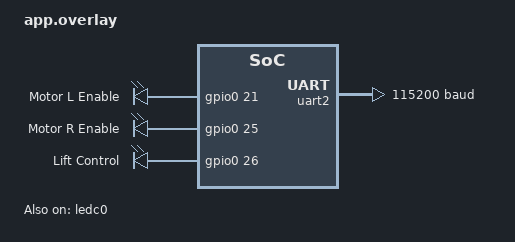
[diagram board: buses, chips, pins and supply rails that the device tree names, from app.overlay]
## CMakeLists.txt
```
cmake_minimum_required(VERSION 3.20.0)
find_package(Zephyr REQUIRED HINTS $ENV{ZEPHYR_BASE})
project(porter_motor_controller LANGUAGES C CXX)

set(CMAKE_CXX_STANDARD 17)
set(CMAKE_CXX_STANDARD_REQUIRED ON)

target_sources(app PRIVATE
    src/main.cpp
)

# Add common shared code (protocol, CRC, transport)
target_sources(app PRIVATE
    ${CMAKE_CURRENT_SOURCE_DIR}/../common/src/protocol.cpp
    ${CMAKE_CURRENT_SOURCE_DIR}/../common/src/crc16.cpp
    ${CMAKE_CURRENT_SOURCE_DIR}/../common/src/transport.c
)

target_include_directories(app PRIVATE
    ${CMAKE_CURRENT_SOURCE_DIR}/../common/include
)
```

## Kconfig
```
# Porter Robot — Motor Controller Application Kconfig
#
# Sources the shared common library Kconfig (transport layer)
# then imports all Zephyr base symbols.

mainmenu "Porter Motor Controller"

rsource "../common/Kconfig"

source "Kconfig.zephyr"
```

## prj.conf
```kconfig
# Porter Robot — Motor Controller Configuration
# Board: ESP32-DevKitC (esp32_devkitc/esp32/procpu)

# --- C++ Support ---
CONFIG_CPP=y
CONFIG_STD_CPP17=y
CONFIG_REQUIRES_FULL_LIBCPP=y

# --- Transport (RPi communication) ---
# ESP32-WROOM uses hardware UART2 + external USB-UART bridge (CP2102/CH340).
# For ESP32-S2/S3 with native USB, change to CONFIG_PORTER_TRANSPORT_CDC_ACM=y
# and add: CONFIG_USB_DEVICE_STACK=y, CONFIG_USBD_CDC_ACM_CLASS=y, CONFIG_UART_LINE_CTRL=y
CONFIG_SERIAL=y
CONFIG_PORTER_TRANSPORT=y
CONFIG_PORTER_TRANSPORT_UART=y

# --- PWM for BTS7960 motor drivers ---
CONFIG_PWM=y

# --- GPIO for direction control and encoders ---
CONFIG_GPIO=y

# --- ADC for battery monitoring ---
CONFIG_ADC=y

# --- State Machine Framework ---
CONFIG_SMF=y
CONFIG_SMF_ANCESTOR_SUPPORT=y

# --- Zbus (internal message passing) ---
CONFIG_ZBUS=y
CONFIG_ZBUS_CHANNEL_NAME=y
CONFIG_ZBUS_OBSERVER_NAME=y

# --- Logging ---
CONFIG_LOG=y
CONFIG_LOG_DEFAULT_LEVEL=3
CONFIG_LOG_BACKEND_UART=y
CONFIG_CBPRINTF_FP_SUPPORT=y

# --- Shell (development only) ---
CONFIG_SHELL=y
CONFIG_SHELL_BACKEND_SERIAL=y

# --- Task Watchdog (safety) ---
CONFIG_TASK_WDT=y

# --- Thread monitoring ---
CONFIG_THREAD_NAME=y
CONFIG_THREAD_MONITOR=y

# --- System ---
CONFIG_HEAP_MEM_POOL_SIZE=4096
CONFIG_MAIN_STACK_SIZE=4096
```

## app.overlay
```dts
/* Porter Robot — Motor Controller Devicetree Overlay
 * Board: ESP32-DevKitC (WROOM)
 *
 * Transport: Hardware UART2 via external USB-UART bridge (CP2102/CH340)
 *   ESP32 UART2 TX (GPIO17) → CP2102 RX → USB → RPi /dev/ttyUSB*
 *   ESP32 UART2 RX (GPIO16) → CP2102 TX → USB → RPi /dev/ttyUSB*
 *
 * Console: UART0 (GPIO1 TX / GPIO3 RX) — debug output via built-in USB
 *
 * Motor Driver: 2× BTS7960 dual H-bridge
 *   Motor L: RPWM=GPIO18, LPWM=GPIO19, EN=GPIO21
 *   Motor R: RPWM=GPIO22, LPWM=GPIO23, EN=GPIO25
 *
 * Lift Mechanism: GPIO26 (up/down), GPIO27 (limit switch)
 *
 * For ESP32-S2/S3 with native USB CDC ACM, replace transport section with:
 *   &zephyr_udc0 { cdc_acm_uart0: cdc_acm_uart0 { compatible = "zephyr,cdc-acm-uart"; }; };
 *   / { aliases { protocol-uart = &cdc_acm_uart0; }; };
 *
 * NOTE: Pin assignments are provisional — update once PCB schematic is finalized
 */

/* Hardware UART2 for protocol communication with RPi */
&uart2 {
    status = "okay";
    current-speed = <115200>;
};

/* LEDC PWM for motor speed control (4 channels for 2 motors × 2 directions) */
&pinctrl {
    ledc0_default: ledc0_default {
        group1 {
            pinmux = <LEDC_CH0_GPIO18>,    /* Motor L RPWM (forward) */
                     <LEDC_CH1_GPIO19>,    /* Motor L LPWM (reverse) */
                     <LEDC_CH2_GPIO22>,    /* Motor R RPWM (forward) */
                     <LEDC_CH3_GPIO23>;    /* Motor R LPWM (reverse) */
            output-enable;
        };
    };
};

&ledc0 {
    status = "okay";
    pinctrl-0 = <&ledc0_default>;
    pinctrl-names = "default";
};

/ {
    chosen {
        /* zephyr,console stays on UART0 for debug output */
    };

    aliases {
        protocol-uart = &uart2;
        pwm-motors = &ledc0;
    };

    /* Motor enable pins and lift control GPIO */
    motor_gpios {
        compatible = "gpio-leds";

        motor_l_en: motor_l_en {
            gpios = <&gpio0 21 GPIO_ACTIVE_HIGH>;
            label = "Motor L Enable";
        };
        motor_r_en: motor_r_en {
            gpios = <&gpio0 25 GPIO_ACTIVE_HIGH>;
            label = "Motor R Enable";
        };
        lift_ctrl: lift_ctrl {
            gpios = <&gpio0 26 GPIO_ACTIVE_HIGH>;
            label = "Lift Control";
        };
    };
};
```

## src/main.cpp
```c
/*
 * Porter Robot — Motor Controller Firmware
 * ESP32 #1: Dual BTS7960 H-Bridge motor control via USB-UART bridge
 *
 * Copyright (c) 2026 VirtusCo
 * SPDX-License-Identifier: Apache-2.0
 *
 * Subsystems:
 *   - SMF state machine: IDLE → RUNNING → FAULT → ESTOP
 *   - PWM motor driver: BTS7960 dual H-bridge (RPWM/LPWM per motor)
 *   - Differential drive: (linear_x, angular_z) → left/right PWM
 *   - Speed ramping: acceleration/deceleration limits
 *   - Heartbeat watchdog: no command in 500ms → stop motors
 *   - Transport: protocol packets over UART/CDC ACM to RPi
 *   - Zbus channels: motor_cmd, motor_status, safety_event
 *   - Shell commands for development/debug
 *
 * Thread priorities: safety(-1) > motor(0) > protocol(1) > reporting(5) > shell(14)
 */

#include <zephyr/kernel.h>
#include <zephyr/device.h>
#include <zephyr/drivers/gpio.h>
#include <zephyr/drivers/pwm.h>
#include <zephyr/logging/log.h>
#include <zephyr/smf.h>
#include <zephyr/zbus/zbus.h>
#include <zephyr/shell/shell.h>
#include <zephyr/task_wdt/task_wdt.h>
#include <zephyr/sys/atomic.h>

#include <cstring>
#include <cstdlib>
#include <algorithm>

#include "protocol.h"
#include "transport.h"

LOG_MODULE_REGISTER(motor_ctrl, LOG_LEVEL_INF);

/* ========================================================================
 * Configuration Constants
 * ======================================================================== */

#define FIRMWARE_VERSION          "0.2.0"

/* PWM */
#define PWM_PERIOD_US             1000    /* 1 kHz PWM frequency */
#define PWM_MAX_DUTY              100     /* max duty cycle % */

/* Speed ramping */
#define RAMP_STEP_PER_TICK        5       /* max duty % change per 10ms tick */
#define MOTOR_TICK_MS             10      /* motor control loop period */

/* Safety */
#define HEARTBEAT_TIMEOUT_MS      500     /* stop motors if no heartbeat/cmd */
#define FAULT_RECOVERY_DELAY_MS   2000    /* delay before allowing fault clear */

/* Protocol polling */
#define PROTOCOL_POLL_MS          5       /* transport read interval */

/* Reporting */
#define STATUS_REPORT_MS          200     /* motor status report interval */

/* ========================================================================
 * Zbus Message Types
 * ======================================================================== */

struct motor_cmd_msg {
    int16_t speed_left;     /* -100..+100 (percent duty, signed for direction) */
    int16_t speed_right;    /* -100..+100 */
    uint8_t flags;          /* bit 0: smooth ramp enable */
};

struct motor_status_msg {
    int16_t current_left;   /* actual duty after ramping */
    int16_t current_right;
    uint8_t state;          /* SMF state enum value */
    uint8_t fault_code;     /* 0 = no fault */
};

struct safety_event_msg {
    uint8_t event;          /* 0=heartbeat_timeout, 1=overcurrent, 2=estop_cmd */
};

/* Forward‐declare observers */
ZBUS_CHAN_DEFINE(motor_cmd_chan,
    struct motor_cmd_msg, NULL, NULL,
    ZBUS_OBSERVERS_EMPTY,
    ZBUS_MSG_INIT(.speed_left = 0, .speed_right = 0, .flags = 1));

ZBUS_CHAN_DEFINE(motor_status_chan,
    struct motor_status_msg, NULL, NULL,
    ZBUS_OBSERVERS_EMPTY,
    ZBUS_MSG_INIT(.current_left = 0, .current_right = 0, .state = 0, .fault_code = 0));

ZBUS_CHAN_DEFINE(safety_event_chan,
    struct safety_event_msg, NULL, NULL,
    ZBUS_OBSERVERS_EMPTY,
    ZBUS_MSG_INIT(.event = 0));

/* ========================================================================
 * Hardware Handles
 * ======================================================================== */

/* PWM — 4 channels: L_RPWM(ch0), L_LPWM(ch1), R_RPWM(ch2), R_LPWM(ch3) */
static const struct device *pwm_dev = DEVICE_DT_GET(DT_NODELABEL(ledc0));

/* Motor enable GPIOs */
static const struct gpio_dt_spec motor_l_en =
    GPIO_DT_SPEC_GET(DT_NODELABEL(motor_l_en), gpios);
static const struct gpio_dt_spec motor_r_en =
    GPIO_DT_SPEC_GET(DT_NODELABEL(motor_r_en), gpios);

/* Lift control */
static const struct gpio_dt_spec lift_ctrl =
    GPIO_DT_SPEC_GET(DT_NODELABEL(lift_ctrl), gpios);

/* ========================================================================
 * Motor PWM Driver
 * ======================================================================== */

/*
 * BTS7960 control: per motor has RPWM (forward) and LPWM (reverse) pins.
 * To go forward:  RPWM = duty, LPWM = 0
 * To go reverse:  RPWM = 0,    LPWM = duty
 * To brake:       RPWM = 0,    LPWM = 0   (with EN high = dynamic braking)
 */

static void pwm_set_channel(uint32_t channel, uint32_t duty_percent)
{
    if (duty_percent > PWM_MAX_DUTY) {
        duty_percent = PWM_MAX_DUTY;
    }
    uint32_t pulse_us = (PWM_PERIOD_US * duty_percent) / 100;
    int ret = pwm_set(pwm_dev, channel, PWM_USEC(PWM_PERIOD_US), PWM_USEC(pulse_us), 0);
    if (ret != 0) {
        LOG_ERR("PWM ch%u set failed: %d", channel, ret);
    }
}

/**
 * Set motor speed: -100..+100. Positive = forward, negative = reverse.
 */
static void motor_set_pwm(int side, int16_t speed)
{
    /* side: 0 = left (ch0=RPWM, ch1=LPWM), 1 = right (ch2=RPWM, ch3=LPWM) */
    uint32_t rpwm_ch = (side == 0) ? 0 : 2;
    uint32_t lpwm_ch = (side == 0) ? 1 : 3;

    int16_t clamped = std::clamp(speed, (int16_t)-100, (int16_t)100);
    uint32_t duty = (uint32_t)std::abs(clamped);

    if (clamped > 0) {
        pwm_set_channel(rpwm_ch, duty);
        pwm_set_channel(lpwm_ch, 0);
    } else if (clamped < 0) {
        pwm_set_channel(rpwm_ch, 0);
        pwm_set_channel(lpwm_ch, duty);
    } else {
        pwm_set_channel(rpwm_ch, 0);
        pwm_set_channel(lpwm_ch, 0);
    }
}

static void motors_stop(void)
{
    motor_set_pwm(0, 0);
    motor_set_pwm(1, 0);
}

static void motors_enable(bool enable)
{
    gpio_pin_set_dt(&motor_l_en, enable ? 1 : 0);
    gpio_pin_set_dt(&motor_r_en, enable ? 1 : 0);
}

/* ========================================================================
 * Speed Ramping
 * ======================================================================== */

static int16_t target_left  = 0;
static int16_t target_right = 0;
static int16_t actual_left  = 0;
static int16_t actual_right = 0;
static bool    ramp_enabled = true;

static int16_t ramp_towards(int16_t current, int16_t target, int16_t step)
{
    int16_t diff = target - current;
    if (diff > step) {
        return current + step;
    } else if (diff < -step) {
        return current - step;
    }
    return target;
}

static void ramp_tick(void)
{
    int16_t step = ramp_enabled ? RAMP_STEP_PER_TICK : 100;
    actual_left  = ramp_towards(actual_left,  target_left,  step);
    actual_right = ramp_towards(actual_right, target_right, step);
    motor_set_pwm(0, actual_left);
    motor_set_pwm(1, actual_right);
}

/* ========================================================================
 * Heartbeat / Command Watchdog
 * ======================================================================== */

static int64_t last_cmd_time = 0;

static void heartbeat_refresh(void)
{
    last_cmd_time = k_uptime_get();
}

static bool heartbeat_expired(void)
{
    return (k_uptime_get() - last_cmd_time) > HEARTBEAT_TIMEOUT_MS;
}

/* ========================================================================
 * Lift Mechanism (simple GPIO up/down)
 * ======================================================================== */

static void lift_set(bool raise)
{
    gpio_pin_set_dt(&lift_ctrl, raise ? 1 : 0);
    LOG_INF("Lift: %s", raise ? "UP" : "DOWN");
}

/* ========================================================================
 * SMF State Machine
 * ======================================================================== */

extern const struct smf_state motor_states[];

enum motor_state_e {
    STATE_IDLE,
    STATE_RUNNING,
    STATE_FAULT,
    STATE_ESTOP,
    STATE_COUNT
};

struct motor_sm_obj {
    struct smf_ctx ctx;
    uint8_t fault_code;
    int64_t fault_entry_time;
};

static struct motor_sm_obj sm_obj;

/* --- IDLE --- */
static void idle_entry(void *o)
{
    LOG_INF("State: IDLE");
    motors_stop();
    motors_enable(false);
    target_left = target_right = 0;
    actual_left = actual_right = 0;
}

static void idle_run(void *o)
{
    struct motor_sm_obj *obj = static_cast<struct motor_sm_obj *>(o);

    /* Check for ESTOP */
    struct safety_event_msg evt;
    if (zbus_chan_read(&safety_event_chan, &evt, K_NO_WAIT) == 0 && evt.event == 2) {
        smf_set_state(SMF_CTX(obj), &motor_states[STATE_ESTOP]);
        return;
    }

    /* Transition to RUNNING if speed command received */
    if (target_left != 0 || target_right != 0) {
        smf_set_state(SMF_CTX(obj), &motor_states[STATE_RUNNING]);
    }
}

/* --- RUNNING --- */
static void running_entry(void *o)
{
    LOG_INF("State: RUNNING");
    motors_enable(true);
    heartbeat_refresh();
}

static void running_run(void *o)
{
    struct motor_sm_obj *obj = static_cast<struct motor_sm_obj *>(o);

    /* Check for ESTOP */
    struct safety_event_msg evt;
    if (zbus_chan_read(&safety_event_chan, &evt, K_NO_WAIT) == 0 && evt.event == 2) {
        smf_set_state(SMF_CTX(obj), &motor_states[STATE_ESTOP]);
        return;
    }

    /* Heartbeat timeout → fault */
    if (heartbeat_expired()) {
        LOG_WRN("Heartbeat timeout — stopping motors");
        obj->fault_code = 1;  /* heartbeat timeout */
        smf_set_state(SMF_CTX(obj), &motor_states[STATE_FAULT]);
        return;
    }

    /* Apply speed ramping */
    ramp_tick();

    /* If target is zero and we've ramped down, return to IDLE */
    if (target_left == 0 && target_right == 0 &&
        actual_left == 0 && actual_right == 0) {
        smf_set_state(SMF_CTX(obj), &motor_states[STATE_IDLE]);
    }
}

static void running_exit(void *o)
{
    motors_stop();
    motors_enable(false);
}

/* --- FAULT --- */
static void fault_entry(void *o)
{
    struct motor_sm_obj *obj = static_cast<struct motor_sm_obj *>(o);
    LOG_ERR("State: FAULT (code=%u)", obj->fault_code);
    motors_stop();
    motors_enable(false);
    target_left = target_right = 0;
    actual_left = actual_right = 0;
    obj->fault_entry_time = k_uptime_get();
}

static void fault_run(void *o)
{
    struct motor_sm_obj *obj = static_cast<struct motor_sm_obj *>(o);

    /* Check for ESTOP — overrides fault */
    struct safety_event_msg evt;
    if (zbus_chan_read(&safety_event_chan, &evt, K_NO_WAIT) == 0 && evt.event == 2) {
        smf_set_state(SMF_CTX(obj), &motor_states[STATE_ESTOP]);
        return;
    }

    /* Recovery: wait for delay then allow transition to IDLE on explicit reset */
    if ((k_uptime_get() - obj->fault_entry_time) > FAULT_RECOVERY_DELAY_MS) {
        /* Reset command comes via protocol (CMD_RESET handled in protocol thread) */
        if (obj->fault_code == 0) {
            LOG_INF("Fault cleared, returning to IDLE");
            smf_set_state(SMF_CTX(obj), &motor_states[STATE_IDLE]);
        }
    }
}

/* --- ESTOP --- */
static void estop_entry(void *o)
{
    LOG_WRN("State: EMERGENCY STOP");
    motors_stop();
    motors_enable(false);
    target_left = target_right = 0;
    actual_left = actual_right = 0;
}

static void estop_run(void *o)
{
    /*
     * Latched state — requires explicit CMD_RESET from host to exit.
     * Motors remain disabled. No automatic recovery.
     */
    (void)o;
}

/* State table */
const struct smf_state motor_states[] = {
    [STATE_IDLE]    = SMF_CREATE_STATE(idle_entry,    idle_run,    NULL,         NULL, NULL),
    [STATE_RUNNING] = SMF_CREATE_STATE(running_entry, running_run, running_exit, NULL, NULL),
    [STATE_FAULT]   = SMF_CREATE_STATE(fault_entry,   fault_run,   NULL,         NULL, NULL),
    [STATE_ESTOP]   = SMF_CREATE_STATE(estop_entry,   estop_run,   NULL,         NULL, NULL),
};

/* ========================================================================
 * Protocol Handler (runs in its own thread)
 * ======================================================================== */

static protocol_parser_t proto_parser;

static void handle_packet(const protocol_packet_t *pkt)
{
    uint8_t resp_buf[PROTOCOL_MAX_PACKET_SIZE];
    size_t  resp_len;

    heartbeat_refresh();

    switch (pkt->command) {
    case CMD_MOTOR_SET_SPEED: {
        if (pkt->length < 5) {
            protocol_encode_nack(pkt->command, NACK_BAD_PAYLOAD, resp_buf, &resp_len);
            transport_write(resp_buf, resp_len);
            return;
        }
        int16_t left  = (int16_t)((pkt->payload[0] << 8) | pkt->payload[1]);
        int16_t right = (int16_t)((pkt->payload[2] << 8) | pkt->payload[3]);
        uint8_t flags = pkt->payload[4];

        /* Clamp to valid range */
        left  = std::clamp(left,  (int16_t)-100, (int16_t)100);
        right = std::clamp(right, (int16_t)-100, (int16_t)100);

        target_left  = left;
        target_right = right;
        ramp_enabled = (flags & 0x01) != 0;

        LOG_INF("CMD: speed L=%d R=%d flags=0x%02x", left, right, flags);

        /* Publish to zbus */
        struct motor_cmd_msg cmd = {
            .speed_left = left, .speed_right = right, .flags = flags
        };
        zbus_chan_pub(&motor_cmd_chan, &cmd, K_NO_WAIT);

        protocol_encode_ack(pkt->command, resp_buf, &resp_len);
        transport_write(resp_buf, resp_len);
        break;
    }

    case CMD_MOTOR_STOP:
        LOG_WRN("CMD: EMERGENCY STOP");
        target_left = target_right = 0;
        actual_left = actual_right = 0;
        motors_stop();
        {
            struct safety_event_msg evt = { .event = 2 };
            zbus_chan_pub(&safety_event_chan, &evt, K_NO_WAIT);
        }
        protocol_encode_ack(pkt->command, resp_buf, &resp_len);
        transport_write(resp_buf, resp_len);
        break;

    case CMD_MOTOR_STATUS: {
        LOG_DBG("CMD: STATUS request");
        uint8_t payload[5];
        payload[0] = (uint8_t)((actual_left  >> 8) & 0xFF);
        payload[1] = (uint8_t)(actual_left & 0xFF);
        payload[2] = (uint8_t)((actual_right >> 8) & 0xFF);
        payload[3] = (uint8_t)(actual_right & 0xFF);
        /* Encode current state as index */
        payload[4] = 0;
        for (int i = 0; i < STATE_COUNT; i++) {
            if (sm_obj.ctx.current == &motor_states[i]) {
                payload[4] = (uint8_t)i;
                break;
            }
        }
        protocol_encode(CMD_MOTOR_STATUS, payload, 5, resp_buf, &resp_len);
        transport_write(resp_buf, resp_len);
        break;
    }

    case CMD_HEARTBEAT:
        /* Already refreshed at top of function */
        LOG_DBG("CMD: HEARTBEAT");
        protocol_encode_ack(pkt->command, resp_buf, &resp_len);
        transport_write(resp_buf, resp_len);
        break;

    case CMD_VERSION: {
        const char *ver = FIRMWARE_VERSION;
        uint8_t vlen = (uint8_t)strlen(ver);
        protocol_encode(CMD_VERSION, (const uint8_t *)ver, vlen, resp_buf, &resp_len);
        transport_write(resp_buf, resp_len);
        break;
    }

    case CMD_RESET:
        LOG_INF("CMD: RESET — clearing faults");
        sm_obj.fault_code = 0;
        /* Return to IDLE (SMF will pick it up in fault_run or estop_run) */
        smf_set_state(SMF_CTX(&sm_obj), &motor_states[STATE_IDLE]);
        protocol_encode_ack(pkt->command, resp_buf, &resp_len);
        transport_write(resp_buf, resp_len);
        break;

    default:
        LOG_WRN("Unknown command: 0x%02x", pkt->command);
        protocol_encode_nack(pkt->command, NACK_UNKNOWN_CMD, resp_buf, &resp_len);
        transport_write(resp_buf, resp_len);
        break;
    }
}

/* Protocol thread: reads transport, feeds parser, dispatches packets */
static void protocol_thread_fn(void *, void *, void *)
{
    LOG_INF("Protocol thread started");

    /* Initialize transport */
    transport_config_t tcfg = TRANSPORT_CONFIG_DEFAULT;
    int ret = transport_init(&tcfg);
    if (ret != TRANSPORT_OK) {
        LOG_ERR("Transport init failed: %d", ret);
        return;
    }
    LOG_INF("Transport ready (%s)", transport_backend_name());

    protocol_parser_init(&proto_parser);

    while (true) {
        uint8_t buf[64];
        int n = transport_read(buf, sizeof(buf));

        for (int i = 0; i < n; i++) {
            if (protocol_parser_feed(&proto_parser, buf[i])) {
                handle_packet(&proto_parser.packet);
                protocol_parser_reset(&proto_parser);
            }
        }

        k_msleep(PROTOCOL_POLL_MS);
    }
}

K_THREAD_STACK_DEFINE(protocol_stack, 2048);
static struct k_thread protocol_thread_data;

/* ========================================================================
 * Status Reporting Thread
 * ======================================================================== */

static void reporting_thread_fn(void *, void *, void *)
{
    LOG_INF("Reporting thread started");

    while (true) {
        /* Update zbus status channel */
        struct motor_status_msg status = {
            .current_left  = actual_left,
            .current_right = actual_right,
            .state         = 0,
            .fault_code    = sm_obj.fault_code,
        };

        for (int i = 0; i < STATE_COUNT; i++) {
            if (sm_obj.ctx.current == &motor_states[i]) {
                status.state = (uint8_t)i;
                break;
            }
        }

        zbus_chan_pub(&motor_status_chan, &status, K_NO_WAIT);

        k_msleep(STATUS_REPORT_MS);
    }
}

K_THREAD_STACK_DEFINE(reporting_stack, 1024);
static struct k_thread reporting_thread_data;

/* ========================================================================
 * Shell Commands (development/debug)
 * ======================================================================== */

static int cmd_motor_speed(const struct shell *sh, size_t argc, char **argv)
{
    if (argc != 3) {
        shell_error(sh, "Usage: motor speed <left> <right>");
        return -EINVAL;
    }
    int16_t left  = (int16_t)atoi(argv[1]);
    int16_t right = (int16_t)atoi(argv[2]);

    target_left = std::clamp(left, (int16_t)-100, (int16_t)100);
    target_right = std::clamp(right, (int16_t)-100, (int16_t)100);
    heartbeat_refresh();
    shell_print(sh, "Target: L=%d R=%d", target_left, target_right);
    return 0;
}

static int cmd_motor_stop(const struct shell *sh, size_t argc, char **argv)
{
    ARG_UNUSED(argc);
    ARG_UNUSED(argv);
    target_left = target_right = 0;
    actual_left = actual_right = 0;
    motors_stop();
    shell_print(sh, "Motors stopped");
    return 0;
}

static int cmd_motor_status(const struct shell *sh, size_t argc, char **argv)
{
    ARG_UNUSED(argc);
    ARG_UNUSED(argv);
    const char *state_names[] = {"IDLE", "RUNNING", "FAULT", "ESTOP"};
    uint8_t si = 0;
    for (int i = 0; i < STATE_COUNT; i++) {
        if (sm_obj.ctx.current == &motor_states[i]) { si = i; break; }
    }
    shell_print(sh, "State: %s  Fault: %u", state_names[si], sm_obj.fault_code);
    shell_print(sh, "Target:  L=%d R=%d", target_left, target_right);
    shell_print(sh, "Actual:  L=%d R=%d", actual_left, actual_right);
    shell_print(sh, "Ramp: %s  HB age: %lld ms",
                ramp_enabled ? "ON" : "OFF",
                k_uptime_get() - last_cmd_time);
    return 0;
}

static int cmd_motor_reset(const struct shell *sh, size_t argc, char **argv)
{
    ARG_UNUSED(argc);
    ARG_UNUSED(argv);
    sm_obj.fault_code = 0;
    smf_set_state(SMF_CTX(&sm_obj), &motor_states[STATE_IDLE]);
    shell_print(sh, "Faults cleared, state → IDLE");
    return 0;
}

static int cmd_motor_lift(const struct shell *sh, size_t argc, char **argv)
{
    if (argc != 2) {
        shell_error(sh, "Usage: motor lift <up|down>");
        return -EINVAL;
    }
    bool up = (strcmp(argv[1], "up") == 0);
    lift_set(up);
    shell_print(sh, "Lift: %s", up ? "UP" : "DOWN");
    return 0;
}

SHELL_STATIC_SUBCMD_SET_CREATE(motor_cmds,
    SHELL_CMD(speed,  NULL, "Set motor speed <left> <right> (-100..100)", cmd_motor_speed),
    SHELL_CMD(stop,   NULL, "Emergency stop", cmd_motor_stop),
    SHELL_CMD(status, NULL, "Show motor status", cmd_motor_status),
    SHELL_CMD(reset,  NULL, "Clear faults, return to IDLE", cmd_motor_reset),
    SHELL_CMD(lift,   NULL, "Lift control <up|down>", cmd_motor_lift),
    SHELL_SUBCMD_SET_END
);
SHELL_CMD_REGISTER(motor, &motor_cmds, "Motor control commands", NULL);

/* ========================================================================
 * Hardware Initialization
 * ======================================================================== */

static int hw_init(void)
{
    int ret;

    /* PWM device */
    if (!device_is_ready(pwm_dev)) {
        LOG_ERR("PWM device not ready");
        return -ENODEV;
    }
    LOG_INF("PWM ready");

    /* Motor enable GPIOs */
    ret = gpio_pin_configure_dt(&motor_l_en, GPIO_OUTPUT_INACTIVE);
    if (ret != 0) { LOG_ERR("Motor L EN config failed: %d", ret); return ret; }

    ret = gpio_pin_configure_dt(&motor_r_en, GPIO_OUTPUT_INACTIVE);
    if (ret != 0) { LOG_ERR("Motor R EN config failed: %d", ret); return ret; }

    /* Lift GPIO */
    ret = gpio_pin_configure_dt(&lift_ctrl, GPIO_OUTPUT_INACTIVE);
    if (ret != 0) { LOG_ERR("Lift GPIO config failed: %d", ret); return ret; }

    LOG_INF("GPIO ready (motor enable + lift)");

    /* Start with motors disabled and PWM at zero */
    motors_stop();
    motors_enable(false);

    return 0;
}

/* ========================================================================
 * Main Entry Point
 * ======================================================================== */

int main(void)
{
    LOG_INF("Porter Robot — Motor Controller v%s", FIRMWARE_VERSION);
    LOG_INF("VirtusCo (c) 2026");

    /* Initialize hardware */
    int ret = hw_init();
    if (ret != 0) {
        LOG_ERR("Hardware init failed (%d) — halting", ret);
        return ret;
    }

    /* Initialize state machine */
    smf_set_initial(SMF_CTX(&sm_obj), &motor_states[STATE_IDLE]);
    heartbeat_refresh();

    /* Start protocol thread (priority 1 = cooperative) */
    k_thread_create(&protocol_thread_data, protocol_stack,
                    K_THREAD_STACK_SIZEOF(protocol_stack),
                    protocol_thread_fn, NULL, NULL, NULL,
                    1, 0, K_NO_WAIT);
    k_thread_name_set(&protocol_thread_data, "proto");

    /* Start reporting thread (priority 5 = preemptible) */
    k_thread_create(&reporting_thread_data, reporting_stack,
                    K_THREAD_STACK_SIZEOF(reporting_stack),
                    reporting_thread_fn, NULL, NULL, NULL,
                    5, 0, K_NO_WAIT);
    k_thread_name_set(&reporting_thread_data, "report");

    LOG_INF("All subsystems initialized — entering main loop");

    /* Main motor control loop (priority 0 — highest preemptible) */
    while (true) {
        int32_t smf_ret = smf_run_state(SMF_CTX(&sm_obj));
        if (smf_ret != 0) {
            LOG_ERR("SMF terminated with %d", smf_ret);
            break;
        }

        k_msleep(MOTOR_TICK_MS);
    }

    /* Should never reach here */
    motors_stop();
    motors_enable(false);
    return 0;
}
```
